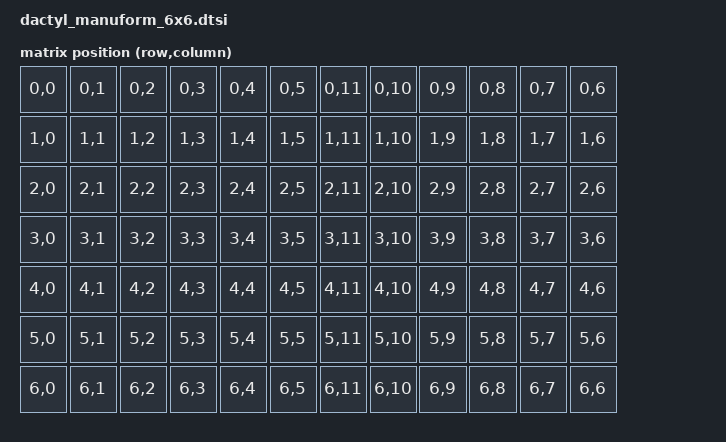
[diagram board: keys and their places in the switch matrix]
/*
 * Dactyl Manuform 6x6 – wspólna definicja tarczy (DTSI)
 *
 * Układ: 6 kolumn × 7 wierszy na każdą połowę = 42 klawisze / strona
 * Razem: 84 klawisze (12 kolumn logicznych × 7 wierszy)
 *
 * Transformacja macierzy:
 *   Lewa  połowa → kolumny 0–5   (Col0 = skrajny lewy klawisz)
 *   Prawa połowa → kolumny 6–11  (Col5 = środkowy, Col0 = skrajny prawy)
 *
 * Układ fizyczny (jeden wiersz, czytany od lewa do prawa):
 *   [L0][L1][L2][L3][L4][L5]   [R5][R4][R3][R2][R1][R0]
 *   RC(r,0)..RC(r,5)            RC(r,11)..RC(r,6)
 *
 * Prawa połowa jest okablowana lustrzanie – Col0 prawej = skrajny prawy klawisz.
 * Transformacja odwraca kolejność kolumn 6–11.
 *
 * Okablowanie:
 *   Wiersze: prawa strona nice!nano (D10…D21)
 *   Kolumny: lewa  strona nice!nano (D3, D4, D5, D7, D8, D9)
 */

#include <dt-bindings/zmk/matrix_transform.h>

/ {
    chosen {
        zmk,kscan = &kscan0;
        zmk,matrix_transform = &default_transform;
    };

    /*
     * Transformacja macierzy 7 wierszy × 12 kolumn = 84 klawisze.
     *
     * Legenda wierszy (Row 0 = D10, Row 6 = D21):
     *   Row 0 – rząd cyfr      (`, 1–5  |  6–0, -)
     *   Row 1 – QWERTY górny   (Tab, Q–T  |  Y–P, \)
     *   Row 2 – QWERTY środk.  (Caps, A–G  |  H–', ')
     *   Row 3 – QWERTY dolny   (LShft, Z–B  |  N–/, RShft)
     *   Row 4 – modyfikatory   (Layer,GUI,Alt,Ctrl,=,Bspc  |  Spc,Ret,Ctrl,Alt,GUI,Layer)
     *   Row 5 – kciuk górny    (klaster kciuka, górny rząd)
     *   Row 6 – kciuk dolny    (klaster kciuka, dolny rząd)
     */
    default_transform: keymap_transform_0 {
        compatible = "zmk,matrix-transform";
        columns = <12>;
        rows = <7>;
        map = <
            RC(0,0)  RC(0,1)  RC(0,2)  RC(0,3)  RC(0,4)  RC(0,5)    RC(0,11) RC(0,10) RC(0,9)  RC(0,8)  RC(0,7)  RC(0,6)
            RC(1,0)  RC(1,1)  RC(1,2)  RC(1,3)  RC(1,4)  RC(1,5)    RC(1,11) RC(1,10) RC(1,9)  RC(1,8)  RC(1,7)  RC(1,6)
            RC(2,0)  RC(2,1)  RC(2,2)  RC(2,3)  RC(2,4)  RC(2,5)    RC(2,11) RC(2,10) RC(2,9)  RC(2,8)  RC(2,7)  RC(2,6)
            RC(3,0)  RC(3,1)  RC(3,2)  RC(3,3)  RC(3,4)  RC(3,5)    RC(3,11) RC(3,10) RC(3,9)  RC(3,8)  RC(3,7)  RC(3,6)
            RC(4,0)  RC(4,1)  RC(4,2)  RC(4,3)  RC(4,4)  RC(4,5)    RC(4,11) RC(4,10) RC(4,9)  RC(4,8)  RC(4,7)  RC(4,6)
            RC(5,0)  RC(5,1)  RC(5,2)  RC(5,3)  RC(5,4)  RC(5,5)    RC(5,11) RC(5,10) RC(5,9)  RC(5,8)  RC(5,7)  RC(5,6)
            RC(6,0)  RC(6,1)  RC(6,2)  RC(6,3)  RC(6,4)  RC(6,5)    RC(6,11) RC(6,10) RC(6,9)  RC(6,8)  RC(6,7)  RC(6,6)
        >;
    };
};
